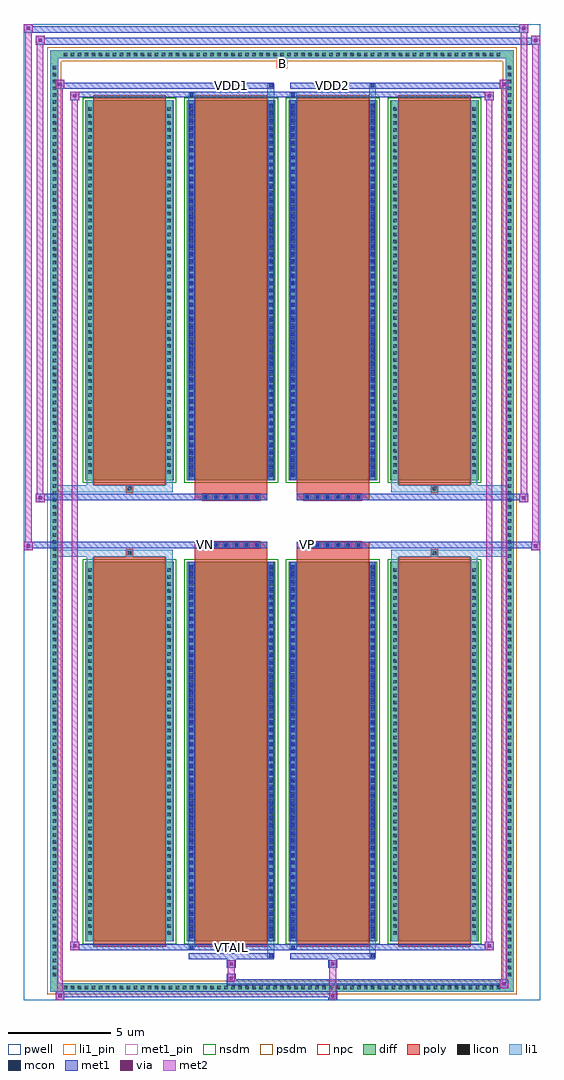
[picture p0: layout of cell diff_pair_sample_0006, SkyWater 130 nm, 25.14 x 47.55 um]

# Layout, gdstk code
import gdstk
lib = gdstk.Library(unit=1e-6, precision=5e-09)
def R(c, l, rs):  # rectangles x0, y0, x1, y1
    for r in rs: c.add(gdstk.rectangle(r[:2], r[2:], *l))
def A(c, l, x, y, w, h, nx, ny, dx, dy):  # array of equal rectangles
    R(c, l, [(x+i*dx, y+j*dy, x+i*dx+w, y+j*dy+h) for i in range(nx) for j in range(ny)])
def P(c, l, *ps):  # polygons
    for p in ps: c.add(gdstk.Polygon(p, *l))
pwell = (64, 44)
diff = (65, 20)
poly = (66, 20)
licon = (66, 44)
li1_pin = (67, 16)
li1 = (67, 20)
mcon = (67, 44)
met1_pin = (68, 16)
met1 = (68, 20)
via = (68, 44)
met2 = (69, 20)
nsdm = (93, 44)
psdm = (94, 20)
npc = (95, 20)

diff_pair_sample_0006 = lib.new_cell('diff_pair_sample_0006')
R(diff_pair_sample_0006, pwell, [(-12.57,-23.34,12.57,24.21), (-9.89,-21.53,-0.01,-0.805), (0.01,-21.53,9.89,-0.805), (-9.89,0.805,-0.01,21.53), (0.01,0.805,9.89,21.53)])
A(diff_pair_sample_0006, diff, -10.745, -22.94, 0.41, 0.41, 63, 2, 0.34, 45.47)
A(diff_pair_sample_0006, diff, -11.3, -22.305, 0.41, 0.41, 1, 131, 0, 0.34)
A(diff_pair_sample_0006, diff, 10.89, -22.305, 0.41, 0.41, 1, 131, 0, 0.34)
A(diff_pair_sample_0006, diff, -9.58, -20.485, 4.31, 18.5, 4, 2, 4.95, 22.47)
R(diff_pair_sample_0006, diff, [(-10.745,-22.94,10.745,-22.53), (-11.3,-22.305,-10.89,22.305), (10.89,-22.305,11.3,22.305), (-10.745,22.53,10.745,22.94)])
P(diff_pair_sample_0006, diff, [(11.3,22.94),(-11.3,22.94),(-11.3,-22.53),(-10.89,-22.53),(-10.89,22.53),(10.89,22.53),(10.89,-22.53),(-10.89,-22.53),(-11.3,-22.53),(-11.3,-22.94),(11.3,-22.94)])
A(diff_pair_sample_0006, poly, -9.19, -20.735, 3.53, 19, 4, 2, 4.95, 22.47)
A(diff_pair_sample_0006, poly, -3.89, -1.335, 0.33, 0.33, 6, 2, 0.5, 2.34)
A(diff_pair_sample_0006, poly, 1.06, -1.335, 0.33, 0.33, 6, 2, 0.5, 2.34)
R(diff_pair_sample_0006, poly, [(-7.59,-1.735,-7.26,-1.405), (-7.59,-1.735,-7.26,-1.405), (-4.24,-1.735,-0.71,-1.335), (0.71,-1.735,4.24,-1.335), (7.26,-1.735,7.59,-1.405), (7.26,-1.735,7.59,-1.405), (-4.24,-1.335,-0.71,-1.005), (0.71,-1.335,4.24,-1.005), (-4.24,1.005,-0.71,1.335), (0.71,1.005,4.24,1.335), (-4.24,1.335,-0.71,1.735), (0.71,1.335,4.24,1.735), (-7.59,1.405,-7.26,1.735), (-7.59,1.405,-7.26,1.735), (7.26,1.405,7.59,1.735), (7.26,1.405,7.59,1.735)])
A(diff_pair_sample_0006, licon, -10.625, -22.82, 0.17, 0.17, 63, 2, 0.34, 45.47)
A(diff_pair_sample_0006, licon, -11.18, -22.185, 0.17, 0.17, 1, 131, 0, 0.34)
A(diff_pair_sample_0006, licon, 11.01, -22.185, 0.17, 0.17, 1, 131, 0, 0.34)
A(diff_pair_sample_0006, licon, -9.44, -20.16, 0.17, 0.17, 1, 53, 0, 0.34)
A(diff_pair_sample_0006, licon, -5.58, -20.16, 0.17, 0.17, 1, 53, 0, 0.34)
A(diff_pair_sample_0006, licon, -4.49, -20.16, 0.17, 0.17, 1, 53, 0, 0.34)
A(diff_pair_sample_0006, licon, -0.63, -20.16, 0.17, 0.17, 1, 53, 0, 0.34)
A(diff_pair_sample_0006, licon, 0.46, -20.16, 0.17, 0.17, 1, 53, 0, 0.34)
A(diff_pair_sample_0006, licon, 4.32, -20.16, 0.17, 0.17, 1, 53, 0, 0.34)
A(diff_pair_sample_0006, licon, 5.41, -20.16, 0.17, 0.17, 1, 53, 0, 0.34)
A(diff_pair_sample_0006, licon, 9.27, -20.16, 0.17, 0.17, 1, 53, 0, 0.34)
A(diff_pair_sample_0006, licon, -3.81, -1.255, 0.17, 0.17, 6, 2, 0.5, 2.34)
A(diff_pair_sample_0006, licon, 1.14, -1.255, 0.17, 0.17, 6, 2, 0.5, 2.34)
A(diff_pair_sample_0006, licon, -9.44, 2.31, 0.17, 0.17, 1, 53, 0, 0.34)
A(diff_pair_sample_0006, licon, -5.58, 2.31, 0.17, 0.17, 1, 53, 0, 0.34)
A(diff_pair_sample_0006, licon, -4.49, 2.31, 0.17, 0.17, 1, 53, 0, 0.34)
A(diff_pair_sample_0006, licon, -0.63, 2.31, 0.17, 0.17, 1, 53, 0, 0.34)
A(diff_pair_sample_0006, licon, 0.46, 2.31, 0.17, 0.17, 1, 53, 0, 0.34)
A(diff_pair_sample_0006, licon, 4.32, 2.31, 0.17, 0.17, 1, 53, 0, 0.34)
A(diff_pair_sample_0006, licon, 5.41, 2.31, 0.17, 0.17, 1, 53, 0, 0.34)
A(diff_pair_sample_0006, licon, 9.27, 2.31, 0.17, 0.17, 1, 53, 0, 0.34)
R(diff_pair_sample_0006, licon, [(-7.51,-1.655,-7.34,-1.485), (7.34,-1.655,7.51,-1.485), (-7.51,1.485,-7.34,1.655), (7.34,1.485,7.51,1.655)])
R(diff_pair_sample_0006, li1_pin, [(-0.25,22.03,0.25,22.53)])
A(diff_pair_sample_0006, li1, -10.705, -22.9, 0.33, 0.33, 63, 2, 0.34, 45.47)
A(diff_pair_sample_0006, li1, -11.26, -22.265, 0.33, 0.33, 1, 131, 0, 0.34)
A(diff_pair_sample_0006, li1, 10.93, -22.265, 0.33, 0.33, 1, 131, 0, 0.34)
A(diff_pair_sample_0006, li1, -4.49, -20.32, 0.17, 0.17, 1, 51, 0, 0.36)
A(diff_pair_sample_0006, li1, -0.63, -20.32, 0.17, 0.17, 1, 51, 0, 0.36)
A(diff_pair_sample_0006, li1, 0.46, -20.32, 0.17, 0.17, 1, 51, 0, 0.36)
A(diff_pair_sample_0006, li1, 4.32, -20.32, 0.17, 0.17, 1, 51, 0, 0.36)
A(diff_pair_sample_0006, li1, -9.52, -20.24, 0.33, 0.33, 1, 53, 0, 0.34)
A(diff_pair_sample_0006, li1, -5.66, -20.24, 0.33, 0.33, 1, 53, 0, 0.34)
A(diff_pair_sample_0006, li1, -4.57, -20.24, 0.33, 0.33, 1, 53, 0, 0.34)
A(diff_pair_sample_0006, li1, -0.71, -20.24, 0.33, 0.33, 1, 53, 0, 0.34)
A(diff_pair_sample_0006, li1, 0.38, -20.24, 0.33, 0.33, 1, 53, 0, 0.34)
A(diff_pair_sample_0006, li1, 4.24, -20.24, 0.33, 0.33, 1, 53, 0, 0.34)
A(diff_pair_sample_0006, li1, 5.33, -20.24, 0.33, 0.33, 1, 53, 0, 0.34)
A(diff_pair_sample_0006, li1, 9.19, -20.24, 0.33, 0.33, 1, 53, 0, 0.34)
A(diff_pair_sample_0006, li1, -3.89, -1.335, 0.33, 0.33, 6, 2, 0.5, 2.34)
A(diff_pair_sample_0006, li1, 1.06, -1.335, 0.33, 0.33, 6, 2, 0.5, 2.34)
A(diff_pair_sample_0006, li1, -4.49, 2.15, 0.17, 0.17, 1, 51, 0, 0.36)
A(diff_pair_sample_0006, li1, -0.63, 2.15, 0.17, 0.17, 1, 51, 0, 0.36)
A(diff_pair_sample_0006, li1, 0.46, 2.15, 0.17, 0.17, 1, 51, 0, 0.36)
A(diff_pair_sample_0006, li1, 4.32, 2.15, 0.17, 0.17, 1, 51, 0, 0.36)
A(diff_pair_sample_0006, li1, -9.52, 2.23, 0.33, 0.33, 1, 53, 0, 0.34)
A(diff_pair_sample_0006, li1, -5.66, 2.23, 0.33, 0.33, 1, 53, 0, 0.34)
A(diff_pair_sample_0006, li1, -4.57, 2.23, 0.33, 0.33, 1, 53, 0, 0.34)
A(diff_pair_sample_0006, li1, -0.71, 2.23, 0.33, 0.33, 1, 53, 0, 0.34)
A(diff_pair_sample_0006, li1, 0.38, 2.23, 0.33, 0.33, 1, 53, 0, 0.34)
A(diff_pair_sample_0006, li1, 4.24, 2.23, 0.33, 0.33, 1, 53, 0, 0.34)
A(diff_pair_sample_0006, li1, 5.33, 2.23, 0.33, 0.33, 1, 53, 0, 0.34)
A(diff_pair_sample_0006, li1, 9.19, 2.23, 0.33, 0.33, 1, 53, 0, 0.34)
R(diff_pair_sample_0006, li1, [(-11.3,-22.94,-10.89,-22.53), (-11.3,-22.94,-10.89,-22.53), (-10.89,-22.94,10.89,-22.53), (10.89,-22.94,11.3,-22.53), (10.89,-22.94,11.3,-22.53), (-11.3,-22.53,-10.89,22.53), (10.89,-22.53,11.3,22.53), (-0.71,-21.29,-0.38,-20.485), (-0.63,-21.29,-0.46,-21.12), (4.24,-21.29,4.57,-20.485), (4.32,-21.29,4.49,-21.12), (-4.57,-20.86,-4.24,-20.485), (-4.49,-20.86,-4.32,-20.69), (0.38,-20.86,0.71,-20.485), (0.46,-20.86,0.63,-20.69), (-9.52,-20.485,-9.19,-1.985), (-5.66,-20.485,-5.33,-1.985), (-4.57,-20.485,-4.24,-1.985), (-0.71,-20.485,-0.38,-1.985), (0.38,-20.485,0.71,-1.985), (4.24,-20.485,4.57,-1.985), (5.33,-20.485,5.66,-1.985), (9.19,-20.485,9.52,-1.985), (-4.49,-20.32,-4.32,-2.15), (-0.63,-20.32,-0.46,-2.15), (0.46,-20.32,0.63,-2.15), (4.32,-20.32,4.49,-2.15), (-9.52,-1.985,-9.19,-1.405), (-5.66,-1.985,-5.33,-1.405), (5.33,-1.985,5.66,-1.405), (9.19,-1.985,9.52,-1.405), (-11.3,-1.735,-7.59,-1.405), (-9.52,-1.735,-7.59,-1.405), (-7.59,-1.735,-7.26,-1.405), (-7.26,-1.735,-5.33,-1.405), (5.33,-1.735,7.26,-1.405), (7.26,-1.735,7.59,-1.405), (7.26,-1.735,11.3,-1.405), (7.59,-1.735,9.52,-1.405), (-11.3,1.405,-7.59,1.735), (-9.52,1.405,-7.59,1.735), (-9.52,1.405,-9.19,1.985), (-7.59,1.405,-7.26,1.735), (-7.26,1.405,-5.33,1.735), (-5.66,1.405,-5.33,1.985), (5.33,1.405,7.26,1.735), (5.33,1.405,5.66,1.985), (7.26,1.405,7.59,1.735), (7.26,1.405,11.3,1.735), (7.59,1.405,9.52,1.735), (9.19,1.405,9.52,1.985), (-9.52,1.985,-9.19,20.485), (-5.66,1.985,-5.33,20.485), (-4.57,1.985,-4.24,20.485), (-0.71,1.985,-0.38,20.485), (0.38,1.985,0.71,20.485), (4.24,1.985,4.57,20.485), (5.33,1.985,5.66,20.485), (9.19,1.985,9.52,20.485), (-4.49,2.15,-4.32,20.32), (-0.63,2.15,-0.46,20.32), (0.46,2.15,0.63,20.32), (4.32,2.15,4.49,20.32), (-4.57,20.485,-4.24,20.86), (-0.71,20.485,-0.38,21.29), (0.38,20.485,0.71,20.86), (4.24,20.485,4.57,21.29), (-4.49,20.69,-4.32,20.86), (0.46,20.69,0.63,20.86), (-0.63,21.12,-0.46,21.29), (4.32,21.12,4.49,21.29), (-11.3,22.53,-10.89,22.94), (-11.3,22.53,-10.89,22.94), (-10.89,22.53,10.89,22.94), (10.89,22.53,11.3,22.94), (10.89,22.53,11.3,22.94)])
A(diff_pair_sample_0006, mcon, -4.49, -20.32, 0.17, 0.17, 1, 51, 0, 0.36)
A(diff_pair_sample_0006, mcon, -0.63, -20.32, 0.17, 0.17, 1, 51, 0, 0.36)
A(diff_pair_sample_0006, mcon, 0.46, -20.32, 0.17, 0.17, 1, 51, 0, 0.36)
A(diff_pair_sample_0006, mcon, 4.32, -20.32, 0.17, 0.17, 1, 51, 0, 0.36)
A(diff_pair_sample_0006, mcon, -3.81, -1.255, 0.17, 0.17, 6, 2, 0.5, 2.34)
A(diff_pair_sample_0006, mcon, 1.14, -1.255, 0.17, 0.17, 6, 2, 0.5, 2.34)
A(diff_pair_sample_0006, mcon, -4.49, 2.15, 0.17, 0.17, 1, 51, 0, 0.36)
A(diff_pair_sample_0006, mcon, -0.63, 2.15, 0.17, 0.17, 1, 51, 0, 0.36)
A(diff_pair_sample_0006, mcon, 0.46, 2.15, 0.17, 0.17, 1, 51, 0, 0.36)
A(diff_pair_sample_0006, mcon, 4.32, 2.15, 0.17, 0.17, 1, 51, 0, 0.36)
R(diff_pair_sample_0006, mcon, [(-0.63,-21.29,-0.46,-21.12), (4.32,-21.29,4.49,-21.12), (-4.49,-20.86,-4.32,-20.69), (0.46,-20.86,0.63,-20.69), (-4.49,20.69,-4.32,20.86), (0.46,20.69,0.63,20.86), (-0.63,21.12,-0.46,21.29), (4.32,21.12,4.49,21.29)])
R(diff_pair_sample_0006, met1_pin, [(-2.61,-20.9,-2.34,-20.63), (-3.86,-1.295,-3.59,-1.025), (1.09,-1.295,1.36,-1.025), (-2.61,21.08,-2.34,21.35), (2.34,21.08,2.61,21.35)])
A(diff_pair_sample_0006, met1, -4.55, -20.38, 0.29, 0.29, 1, 51, 0, 0.36)
A(diff_pair_sample_0006, met1, -0.69, -20.38, 0.29, 0.29, 1, 51, 0, 0.36)
A(diff_pair_sample_0006, met1, 0.4, -20.38, 0.29, 0.29, 1, 51, 0, 0.36)
A(diff_pair_sample_0006, met1, 4.26, -20.38, 0.29, 0.29, 1, 51, 0, 0.36)
A(diff_pair_sample_0006, met1, -3.87, -1.315, 0.29, 0.29, 6, 2, 0.5, 2.34)
A(diff_pair_sample_0006, met1, 1.08, -1.315, 0.29, 0.29, 6, 2, 0.5, 2.34)
A(diff_pair_sample_0006, met1, -4.55, 2.09, 0.29, 0.29, 1, 51, 0, 0.36)
A(diff_pair_sample_0006, met1, -0.69, 2.09, 0.29, 0.29, 1, 51, 0, 0.36)
A(diff_pair_sample_0006, met1, 0.4, 2.09, 0.29, 0.29, 1, 51, 0, 0.36)
A(diff_pair_sample_0006, met1, 4.26, 2.09, 0.29, 0.29, 1, 51, 0, 0.36)
R(diff_pair_sample_0006, met1, [(-11.03,-23.34,-10.6,-22.91), (2.26,-23.34,2.69,-22.91), (-11.03,-23.2,2.69,-22.91), (10.6,-22.77,11.03,-22.34), (-2.69,-22.63,11.03,-22.34), (-2.69,-22.49,-2.26,-22.06), (-2.69,-21.78,-2.26,-21.35), (2.26,-21.78,2.69,-21.35), (-4.55,-21.35,-0.4,-21.06), (-0.69,-21.35,-0.4,-21.06), (0.4,-21.35,4.55,-21.06), (4.26,-21.35,4.55,-21.06), (-10.32,-20.92,-9.89,-20.49), (-10.32,-20.92,-4.55,-20.63), (-4.55,-20.92,-4.26,-20.63), (-4.55,-20.92,-0.4,-20.63), (-0.4,-20.92,0.4,-20.63), (0.4,-20.92,0.69,-20.63), (0.4,-20.92,4.55,-20.63), (4.55,-20.92,10.32,-20.63), (9.89,-20.92,10.32,-20.49), (-4.55,-20.485,-4.26,-1.985), (-0.69,-20.485,-0.4,-1.985), (0.4,-20.485,0.69,-1.985), (4.26,-20.485,4.55,-1.985), (-12.57,-1.435,-12.14,-1.005), (12.14,-1.435,12.57,-1.005), (-12.57,-1.335,-0.71,-1.005), (-4.24,-1.335,-0.71,-1.005), (0.71,-1.335,4.24,-1.005), (0.71,-1.335,12.57,-1.005), (-12,0.905,-11.57,1.335), (11.57,0.905,12,1.335), (-12,1.005,-4.24,1.335), (-4.24,1.005,-0.71,1.335), (0.71,1.005,4.24,1.335), (4.24,1.005,12,1.335), (-4.55,1.985,-4.26,20.485), (-0.69,1.985,-0.4,20.485), (0.4,1.985,0.69,20.485), (4.26,1.985,4.55,20.485), (-10.32,20.49,-9.89,20.92), (9.89,20.49,10.32,20.92), (-10.32,20.63,-4.55,20.92), (-4.55,20.63,-4.26,20.92), (-4.55,20.63,-0.4,20.92), (-0.4,20.63,0.4,20.92), (0.4,20.63,0.69,20.92), (0.4,20.63,4.55,20.92), (4.55,20.63,10.32,20.92), (-11.03,21.06,-10.6,21.49), (-11.03,21.06,-4.55,21.35), (-4.55,21.06,-0.4,21.35), (-0.69,21.06,-0.4,21.35), (0.4,21.06,4.55,21.35), (4.26,21.06,4.55,21.35), (4.55,21.06,11.03,21.35), (10.6,21.06,11.03,21.49), (-12,23.21,-11.57,23.64), (-12,23.21,-9.89,23.54), (-9.89,23.21,9.89,23.54), (9.89,23.21,12.57,23.54), (12.14,23.21,12.57,23.64), (-12.57,23.78,-12.14,24.21), (-12.57,23.78,-9.89,24.11), (-9.89,23.78,9.89,24.11), (9.89,23.78,12,24.11), (11.57,23.78,12,24.21)])
R(diff_pair_sample_0006, via, [(-10.89,-23.2,-10.74,-23.05), (2.4,-23.2,2.55,-23.05), (10.74,-22.63,10.89,-22.48), (-2.55,-22.35,-2.4,-22.2), (-2.55,-21.64,-2.4,-21.49), (2.4,-21.64,2.55,-21.49), (-10.18,-20.78,-10.03,-20.63), (10.03,-20.78,10.18,-20.63), (-12.43,-1.295,-12.28,-1.145), (12.28,-1.295,12.43,-1.145), (-11.86,1.045,-11.71,1.195), (11.71,1.045,11.86,1.195), (-10.18,20.63,-10.03,20.78), (10.03,20.63,10.18,20.78), (-10.89,21.2,-10.74,21.35), (10.74,21.2,10.89,21.35), (-11.86,23.35,-11.71,23.5), (12.28,23.35,12.43,23.5), (-12.43,23.92,-12.28,24.07), (11.71,23.92,11.86,24.07)])
R(diff_pair_sample_0006, met2, [(-11.03,-23.34,-10.6,-22.91), (-10.96,-23.34,-10.67,21.49), (-10.67,-23.34,-10.6,-22.91), (-10.98,-23.29,-10.65,-22.96), (2.31,-23.29,2.64,-22.96), (2.31,-22.96,2.64,-21.73), (10.6,-22.77,11.03,-22.34), (10.67,-22.77,10.96,21.49), (10.96,-22.77,11.03,-22.34), (10.65,-22.72,10.98,-22.39), (-2.64,-22.44,-2.31,-22.11), (-2.64,-22.11,-2.31,-21.73), (-2.64,-21.73,-2.31,-21.4), (2.31,-21.73,2.64,-21.4), (-10.32,-20.92,-9.89,-20.49), (-10.25,-20.92,-9.96,20.92), (-9.96,-20.92,-9.89,-20.49), (9.89,-20.92,10.32,-20.49), (9.96,-20.92,10.25,20.92), (10.25,-20.92,10.32,-20.49), (-10.27,-20.87,-9.94,-20.54), (9.94,-20.87,10.27,-20.54), (-12.57,-1.435,-12.14,-1.005), (-12.52,-1.435,-12.19,24.21), (-12.19,-1.435,-12.14,-1.005), (12.14,-1.435,12.57,-1.005), (12.19,-1.435,12.52,23.64), (12.52,-1.435,12.57,-1.005), (-12.52,-1.385,-12.19,-1.055), (12.19,-1.385,12.52,-1.055), (-12,0.905,-11.57,1.335), (-11.95,0.905,-11.62,23.64), (-11.62,0.905,-11.57,1.335), (11.57,0.905,12,1.335), (11.62,0.905,11.95,24.21), (11.95,0.905,12,1.335), (-11.95,0.955,-11.62,1.285), (11.62,0.955,11.95,1.285), (-10.32,20.49,-9.89,20.92), (-9.96,20.49,-9.89,20.92), (9.89,20.49,10.32,20.92), (10.25,20.49,10.32,20.92), (-10.27,20.54,-9.94,20.87), (9.94,20.54,10.27,20.87), (-11.03,21.06,-10.6,21.49), (-10.67,21.06,-10.6,21.49), (10.6,21.06,11.03,21.49), (10.96,21.06,11.03,21.49), (-10.98,21.11,-10.65,21.44), (10.65,21.11,10.98,21.44), (-12,23.21,-11.57,23.64), (-11.62,23.21,-11.57,23.64), (12.14,23.21,12.57,23.64), (12.52,23.21,12.57,23.64), (-11.95,23.26,-11.62,23.59), (12.19,23.26,12.52,23.59), (-12.57,23.78,-12.14,24.21), (-12.19,23.78,-12.14,24.21), (11.57,23.78,12,24.21), (11.95,23.78,12,24.21), (-12.52,23.83,-12.19,24.16), (11.62,23.83,11.95,24.16)])
A(diff_pair_sample_0006, nsdm, -9.71, -20.615, 4.57, 18.76, 4, 2, 4.95, 22.47)
P(diff_pair_sample_0006, psdm, [(11.43,23.07),(-11.43,23.07),(-11.43,-22.4),(-10.76,-22.4),(-10.76,22.4),(10.76,22.4),(10.76,-22.4),(-10.76,-22.4),(-11.43,-22.4),(-11.43,-23.07),(11.43,-23.07)])
A(diff_pair_sample_0006, npc, -3.91, -1.355, 0.37, 0.37, 6, 2, 0.5, 2.34)
A(diff_pair_sample_0006, npc, 1.04, -1.355, 0.37, 0.37, 6, 2, 0.5, 2.34)
R(diff_pair_sample_0006, npc, [(-7.61,-1.755,-7.24,-1.385), (7.24,-1.755,7.61,-1.385), (-3.91,-1.355,-3.04,-0.985), (-3.91,-1.355,-3.04,-0.985), (-3.41,-1.355,-2.54,-0.985), (-3.41,-1.355,-2.54,-0.985), (-2.91,-1.355,-2.04,-0.985), (-2.91,-1.355,-2.04,-0.985), (-2.41,-1.355,-1.54,-0.985), (-2.41,-1.355,-1.54,-0.985), (-1.91,-1.355,-1.04,-0.985), (-1.91,-1.355,-1.04,-0.985), (1.04,-1.355,1.91,-0.985), (1.04,-1.355,1.91,-0.985), (1.54,-1.355,2.41,-0.985), (1.54,-1.355,2.41,-0.985), (2.04,-1.355,2.91,-0.985), (2.04,-1.355,2.91,-0.985), (2.54,-1.355,3.41,-0.985), (2.54,-1.355,3.41,-0.985), (3.04,-1.355,3.91,-0.985), (3.04,-1.355,3.91,-0.985), (-3.91,0.985,-3.04,1.355), (-3.91,0.985,-3.04,1.355), (-3.41,0.985,-2.54,1.355), (-3.41,0.985,-2.54,1.355), (-2.91,0.985,-2.04,1.355), (-2.91,0.985,-2.04,1.355), (-2.41,0.985,-1.54,1.355), (-2.41,0.985,-1.54,1.355), (-1.91,0.985,-1.04,1.355), (-1.91,0.985,-1.04,1.355), (1.04,0.985,1.91,1.355), (1.04,0.985,1.91,1.355), (1.54,0.985,2.41,1.355), (1.54,0.985,2.41,1.355), (2.04,0.985,2.91,1.355), (2.04,0.985,2.91,1.355), (2.54,0.985,3.41,1.355), (2.54,0.985,3.41,1.355), (3.04,0.985,3.91,1.355), (3.04,0.985,3.91,1.355), (-7.61,1.385,-7.24,1.755), (7.24,1.385,7.61,1.755)])
diff_pair_sample_0006.add(gdstk.Label('VTAIL', (-2.475,-20.765), layer=68, texttype=5))
diff_pair_sample_0006.add(gdstk.Label('VN', (-3.725,-1.16), layer=68, texttype=5))
diff_pair_sample_0006.add(gdstk.Label('VP', (1.225,-1.16), layer=68, texttype=5))
diff_pair_sample_0006.add(gdstk.Label('B', (0,22.28), layer=67, texttype=5))
diff_pair_sample_0006.add(gdstk.Label('VDD2', (2.475,21.215), layer=68, texttype=5))
diff_pair_sample_0006.add(gdstk.Label('VDD1', (-2.475,21.215), layer=68, texttype=5))

lib.write_gds('diff_pair_sample_0006.gds')
